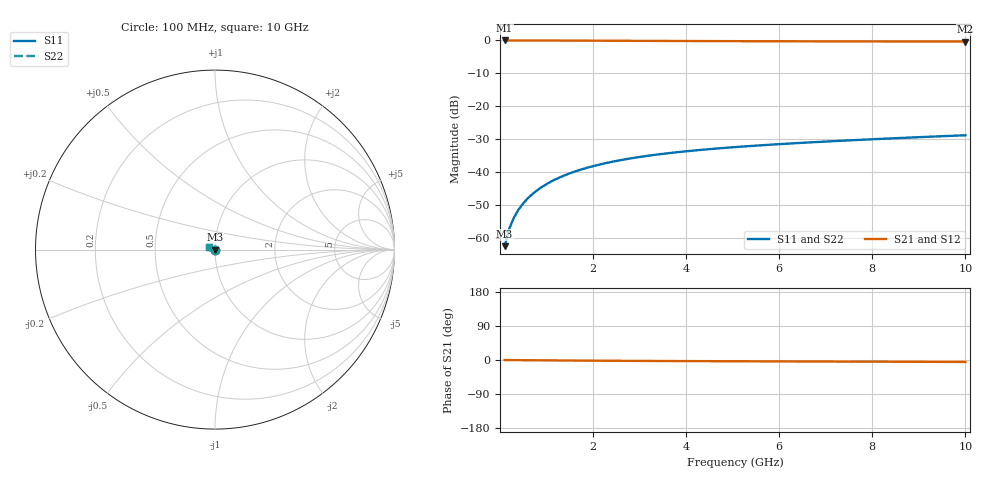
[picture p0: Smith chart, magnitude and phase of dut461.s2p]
! Touchstone file exported from HFSS 2024.1.0
!  File:  C:/UserFiles/LocalFiles/RDL_TSV_Batchsim/temp_TSV1_461_1779697521.aedt
!  Generated:  04:32:11 PM May 25, 2026
!  Design:  TSV1
!  Project:  temp_TSV1_461_1779697521
!  Setup:  Setup1
!  Solution:  Sweep
! Variables:
!  dtsv = 6.2um
!  hbump = 3um
!  htsv = 77.16um
!  lrdl = 252.1521522um
!  p = 40
!  p1 = 45.64um
!  t = 500um
!  trdl = 3um
!  wrdl = 24.89489489um
# GHz S MA R 50.000000
! Terminal data exported
! Port[1] = TSV22_T1
! Port[2] = TSV22_T2
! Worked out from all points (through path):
!   100 points, 100 MHz to 10 GHz, reference 50 ohm
!   highest |S21| = 0.00 dB at 100 MHz (marker M1); lowest = -0.3 dB at 10 GHz (marker M2)
!   lowest |S11| = -62.4 dB at 100 MHz (marker M3), VSWR 1.00, Z = 50 - j0.0675 ohm
!   |S11| at or under -10 dB: start of sweep to end of sweep
!   |S22| runs from -62.4 to -28.8 dB; largest |S21 - S12| = 3.2e-15
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0.1  0.000755 -63.3  0.9996 -0.1  0.9996 -0.1  0.000755 -63.3
! Gamma 0 0 0 0
! Port Impedance 50 0 50 0
0.2  0.001392 -78.7  0.9995 -0.2  0.9995 -0.2  0.001392 -78.7
0.3  0.002051 -85.6  0.9994 -0.3  0.9994 -0.3  0.002051 -85.6
0.4  0.002713 -90.1  0.9992 -0.4  0.9992 -0.4  0.002713 -90.1
0.5  0.003375 -93.6  0.999 -0.5  0.999 -0.5  0.003375 -93.6
0.6  0.004032 -96.6  0.9988 -0.6  0.9988 -0.6  0.004032 -96.6
0.7  0.004685 -99.3  0.9985 -0.7  0.9985 -0.7  0.004685 -99.3
0.8  0.005332 -101.7  0.9981 -0.8  0.9981 -0.8  0.005332 -101.7
0.9  0.005971 -104.1  0.9978 -0.9  0.9978 -0.9  0.005971 -104.1
1.1  0.007225 -108.5  0.9969 -1.1  0.9969 -1.1  0.007225 -108.5
1.4  0.009036 -114.6  0.9954 -1.3  0.9954 -1.3  0.009036 -114.6
1.6  0.01019 -118.5  0.9943 -1.5  0.9943 -1.5  0.01019 -118.5
1.8  0.0113 -122.2  0.9931 -1.6  0.9931 -1.6  0.0113 -122.2
2.1  0.01288 -127.5  0.9913 -1.9  0.9913 -1.9  0.01288 -127.5
2.5  0.01483 -134.2  0.9887 -2.1  0.9887 -2.1  0.01483 -134.2
2.9  0.01662 -140.4  0.9862 -2.4  0.9862 -2.4  0.01662 -140.4
3.4  0.01863 -147.6  0.9831 -2.6  0.9831 -2.6  0.01863 -147.6
4.2  0.02145 -157.8  0.9788 -3.0  0.9788 -3.0  0.02145 -157.8
5.1  0.02421 -167.8  0.9747 -3.4  0.9747 -3.4  0.02421 -167.8
6.7  0.02847 177.6  0.9692 -3.9  0.9692 -3.9  0.02847 177.6
8.4  0.03261 165.4  0.9653 -4.5  0.9653 -4.5  0.03261 165.4
10  0.0364 156.0  0.9626 -5.1  0.9626 -5.1  0.0364 156.0
